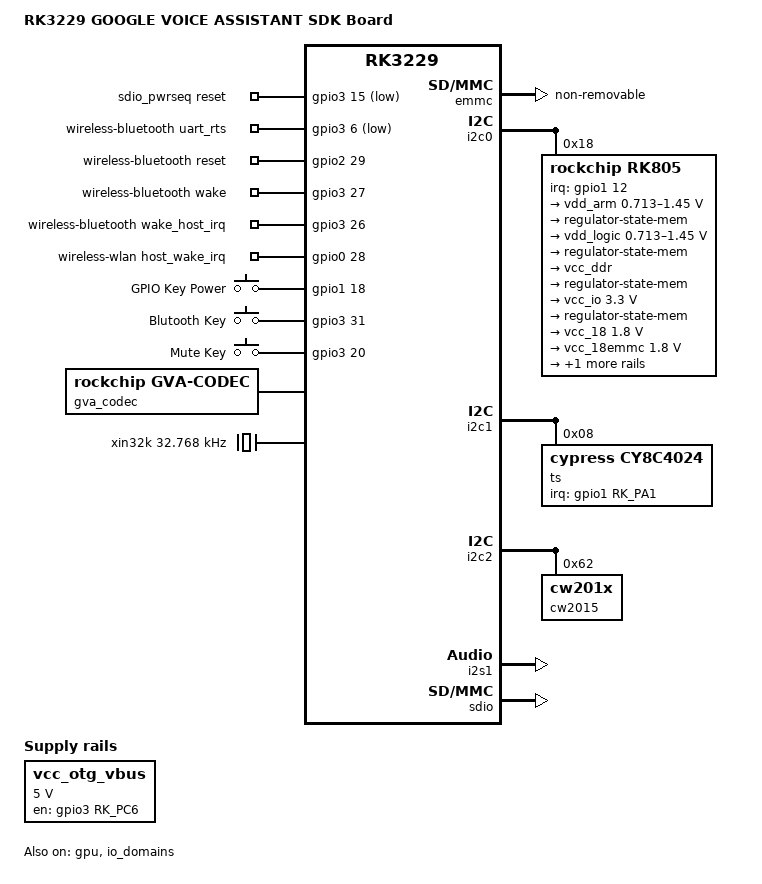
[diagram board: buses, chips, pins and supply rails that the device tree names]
/*
 * Copyright (c) 2017 Fuzhou Rockchip Electronics Co., Ltd
 *
 * This file is dual-licensed: you can use it either under the terms
 * of the GPL or the X11 license, at your option. Note that this dual
 * licensing only applies to this file, and not this project as a
 * whole.
 *
 *  a) This file is free software; you can redistribute it and/or
 *     modify it under the terms of the GNU General Public License as
 *     published by the Free Software Foundation; either version 2 of the
 *     License, or (at your option) any later version.
 *
 *     This file is distributed in the hope that it will be useful,
 *     but WITHOUT ANY WARRANTY; without even the implied warranty of
 *     MERCHANTABILITY or FITNESS FOR A PARTICULAR PURPOSE.  See the
 *     GNU General Public License for more details.
 *
 *  Or, alternatively,
 *
 *  b) Permission is hereby granted, free of charge, to any person
 *     obtaining a copy of this software and associated documentation
 *     files (the "Software"), to deal in the Software without
 *     restriction, including without limitation the rights to use,
 *     copy, modify, merge, publish, distribute, sublicense, and/or
 *     sell copies of the Software, and to permit persons to whom the
 *     Software is furnished to do so, subject to the following
 *     conditions:
 *
 *     The above copyright notice and this permission notice shall be
 *     included in all copies or substantial portions of the Software.
 *
 *     THE SOFTWARE IS PROVIDED "AS IS", WITHOUT WARRANTY OF ANY KIND,
 *     EXPRESS OR IMPLIED, INCLUDING BUT NOT LIMITED TO THE WARRANTIES
 *     OF MERCHANTABILITY, FITNESS FOR A PARTICULAR PURPOSE AND
 *     NONINFRINGEMENT. IN NO EVENT SHALL THE AUTHORS OR COPYRIGHT
 *     HOLDERS BE LIABLE FOR ANY CLAIM, DAMAGES OR OTHER LIABILITY,
 *     WHETHER IN AN ACTION OF CONTRACT, TORT OR OTHERWISE, ARISING
 *     FROM, OUT OF OR IN CONNECTION WITH THE SOFTWARE OR THE USE OR
 *     OTHER DEALINGS IN THE SOFTWARE.
 */

/dts-v1/;

#include "rk322x.dtsi"
#include "rk3229-cpu-opp.dtsi"
#include "rk322x-android.dtsi"

/ {
	model = "RK3229 GOOGLE VOICE ASSISTANT SDK Board";
	compatible = "rockchip,rk3229-gva-sdk", "rockchip,rk3229";

	sdio_pwrseq: sdio-pwrseq {
		compatible = "mmc-pwrseq-simple";
		clocks = <&rk805 1>;
		clock-names = "ext_clock";
		pinctrl-names = "default";
		pinctrl-0 = <&wifi_enable_h>;

		/*
		 * On the module itself this is one of these (depending
		 * on the actual card populated):
		 * - SDIO_RESET_L_WL_REG_ON
		 * - PDN (power down when low)
		 */
		reset-gpios = <&gpio3 15 GPIO_ACTIVE_LOW>; /* GPIO3_B7 */
	};

	wireless-bluetooth {
		compatible = "bluetooth-platdata";
		clocks = <&rk805 1>;
		clock-names = "ext_clock";
		uart_rts_gpios = <&gpio3 6 GPIO_ACTIVE_LOW>;
		pinctrl-names = "default", "rts_gpio";
		pinctrl-0 = <&uart11_rts>;
		pinctrl-1 = <&uart11_rts_gpio>;
		BT,reset_gpio    = <&gpio2 29 GPIO_ACTIVE_HIGH>;
		BT,wake_gpio     = <&gpio3 27 GPIO_ACTIVE_HIGH>;
		BT,wake_host_irq = <&gpio3 26 GPIO_ACTIVE_HIGH>;
		status = "okay";
	};

	wireless-wlan {
		compatible = "wlan-platdata";
		rockchip,grf = <&grf>;
		wifi_chip_type = "ap6255";
		WIFI,host_wake_irq = <&gpio0 28 GPIO_ACTIVE_HIGH>;
		status = "okay";
	};

	gpio_keys {
		compatible = "gpio-keys";
		#address-cells = <1>;
		#size-cells = <0>;
		autorepeat;

		pinctrl-names = "default";
		pinctrl-0 = <&pwr_key &bt_key &mute_key>;

		power_key {
			label = "GPIO Key Power";
			gpios = <&gpio1 18 GPIO_ACTIVE_HIGH>;
			linux,code = <116>;
			debounce-interval = <100>;
			wakeup-source;
		};

		bt_key {
			label = "Blutooth Key";
			gpios = <&gpio3 31 GPIO_ACTIVE_HIGH>;
			linux,code = <237>;
			debounce-interval = <100>;
		};

		mute_key {
			label = "Mute Key";
			gpios = <&gpio3 20 GPIO_ACTIVE_HIGH>;
			linux,code = <113>;
			debounce-interval = <100>;
		};
	};

	gva_codec: gva-codec {
		compatible = "rockchip,gva-codec";
		#sound-dai-cells = <0>;
		status = "okay";
	};

	gva-sound {
		compatible = "simple-audio-card";
		simple-audio-card,format = "i2s";
		simple-audio-card,name = "rockchip,rk3229-dummy";
		simple-audio-card,mclk-fs = <256>;
		simple-audio-card,cpu {
			sound-dai = <&i2s1>;
		};
		simple-audio-card,codec {
			sound-dai = <&gva_codec>;
		};
	};

	vcc_otg_vbus: otg-vbus-regulator {
		compatible = "regulator-fixed";
		gpio = <&gpio3 RK_PC6 GPIO_ACTIVE_HIGH>;
		pinctrl-names = "default";
		pinctrl-0 = <&otg_vbus_drv>;
		regulator-name = "vcc_otg_vbus";
		regulator-min-microvolt = <5000000>;
		regulator-max-microvolt = <5000000>;
		enable-active-high;
	};

	xin32k: xin32k {
		compatible = "fixed-clock";
		clock-frequency = <32768>;
		clock-output-names = "xin32k";
		#clock-cells = <0>;
	};
};

&gpu {
	status = "okay";
	mali-supply = <&vdd_logic>;
};

&nandc {
	status = "disabled";
};

&emmc {
	max-frequency = <125000000>;
	cap-mmc-highspeed;
	mmc-ddr-1_8v;
	non-removable;
	supports-emmc;
	status = "okay";
};

&i2c0 {
	status = "okay";

	rk805: rk805@18 {
		compatible = "rockchip,rk805";
		status = "okay";
		reg = <0x18>;
		interrupt-parent = <&gpio1>;
		interrupts = <12 IRQ_TYPE_LEVEL_LOW>;
		spinctrl-names = "default";
		pinctrl-0 = <&pmic_int_l>;
		rockchip,system-power-controller;
		wakeup-source;
		gpio-controller;
		#gpio-cells = <2>;
		#clock-cells = <1>;
		clock-output-names = "rk805-clkout1", "rk805-clkout2";

		rtc {
			status = "okay";
		};

		pwrkey {
			status = "okay";
		};

		gpio {
			status = "okay";
		};

		regulators {
			compatible = "rk805-regulator";
			status = "okay";
			#address-cells = <1>;
			#size-cells = <0>;

			vdd_arm: RK805_DCDC1@0 {
				regulator-compatible = "RK805_DCDC1";
				regulator-name = "vdd_arm";
				regulator-min-microvolt = <712500>;
				regulator-max-microvolt = <1450000>;
				regulator-initial-mode = <0x1>;
				regulator-ramp-delay = <12500>;
				regulator-boot-on;
				regulator-always-on;
				regulator-state-mem {
					regulator-mode = <0x2>;
					regulator-on-in-suspend;
					regulator-suspend-microvolt = <950000>;
				};
			};

			vdd_logic: RK805_DCDC2@1 {
				regulator-compatible = "RK805_DCDC2";
				regulator-name = "vdd_logic";
				regulator-min-microvolt = <712500>;
				regulator-max-microvolt = <1450000>;
				regulator-initial-mode = <0x1>;
				regulator-ramp-delay = <12500>;
				regulator-boot-on;
				regulator-always-on;
				regulator-state-mem {
					regulator-mode = <0x2>;
					regulator-on-in-suspend;
					regulator-suspend-microvolt = <1000000>;
				};
			};

			vcc_ddr: RK805_DCDC3@2 {
				regulator-compatible = "RK805_DCDC3";
				regulator-name = "vcc_ddr";
				regulator-initial-mode = <0x1>;
				regulator-boot-on;
				regulator-always-on;
				regulator-state-mem {
					regulator-mode = <0x2>;
					regulator-on-in-suspend;
				};
			};

			vcc_io: RK805_DCDC4@3 {
				regulator-compatible = "RK805_DCDC4";
				regulator-name = "vcc_io";
				regulator-min-microvolt = <3300000>;
				regulator-max-microvolt = <3300000>;
				regulator-initial-mode = <0x1>;
				regulator-boot-on;
				regulator-always-on;
				regulator-state-mem {
					regulator-mode = <0x2>;
					regulator-on-in-suspend;
					regulator-suspend-microvolt = <3300000>;
				};
			};

			vcc_18: RK805_LDO1@4 {
				regulator-compatible = "RK805_LDO1";
				regulator-name = "vcc_18";
				regulator-min-microvolt = <1800000>;
				regulator-max-microvolt = <1800000>;
				regulator-boot-on;
				regulator-always-on;
				regulator-state-mem {
					regulator-on-in-suspend;
					regulator-suspend-microvolt = <1800000>;
				};
			};

			vcc_18emmc: RK805_LDO2@5 {
				regulator-compatible = "RK805_LDO2";
				regulator-name = "vcc_18emmc";
				regulator-min-microvolt = <1800000>;
				regulator-max-microvolt = <1800000>;
				regulator-boot-on;
				regulator-always-on;
				regulator-state-mem {
					regulator-on-in-suspend;
					regulator-suspend-microvolt = <1800000>;
				};
			};

			vdd_10: RK805_LDO3@6 {
				regulator-compatible = "RK805_LDO3";
				regulator-name = "vdd_10";
				regulator-min-microvolt = <1000000>;
				regulator-max-microvolt = <1000000>;
				regulator-boot-on;
				regulator-always-on;
				regulator-state-mem {
					regulator-on-in-suspend;
					regulator-suspend-microvolt = <1000000>;
				};
			};
		};
	};
};

&i2c1 {
	status = "okay";
	ts@8 {
		compatible = "cypress,cy8c4024";
		reg = <0x8>;
		interrupt-parent = <&gpio1>;
		interrupts = <RK_PA1 IRQ_TYPE_LEVEL_LOW>;
		status = "okay";
	};
};

&i2c2 {
	status = "okay";

	cw2015@62 {
		status = "okay";
		compatible = "cw201x";
		reg = <0x62>;
		bat_config_info = <0x15 0x42 0x60 0x59 0x52 0x58 0x4D 0x48 0x48 0x44 0x44 0x46 0x49 0x48 0x32
		0x24 0x20 0x17 0x13 0x0F 0x19 0x3E 0x51 0x45 0x08 0x76 0x0B 0x85 0x0E 0x1C 0x2E 0x3E 0x4D 0x52 0x52
		0x57 0x3D 0x1B 0x6A 0x2D 0x25 0x43 0x52 0x87 0x8F 0x91 0x94 0x52 0x82 0x8C 0x92 0x96 0xFF 0x7B 0xBB
		0xCB 0x2F 0x7D 0x72 0xA5 0xB5 0xC1 0x46 0xAE>;
		monitor_sec = <5>;
		virtual_power = <0>;
		divider_res1 = <200>;
		divider_res2 = <200>;
	};
};

&i2s1 {
	status = "okay";
	rockchip,i2s-broken-burst-len;
	rockchip,playback-channels = <8>;
	rockchip,capture-channels = <8>;
	rockchip,bclk-fs = <64>;
	#sound-dai-cells = <0>;
};

&cpu0 {
	cpu-supply = <&vdd_arm>;
};

&io_domains {
	status = "okay";

	vccio1-supply = <&vcc_io>;
	vccio2-supply = <&vcc_18>;
	vccio4-supply = <&vcc_io>;
};

&pinctrl {
	keys {
		pwr_key: pwr-key {
			rockchip,pins = <1 18 RK_FUNC_GPIO &pcfg_pull_down>;
		};

		bt_key: bt-key {
			rockchip,pins = <3 31 RK_FUNC_GPIO &pcfg_pull_down>;
		};

		mute_key: mute-key {
			rockchip,pins = <3 20 RK_FUNC_GPIO &pcfg_pull_down>;
		};
	};

	pmic {
		pmic_int_l: pmic-int-l {
			rockchip,pins = <1 12 RK_FUNC_GPIO &pcfg_pull_up>; /* gpio1_b4 */
		};
	};

	sdio-pwrseq {
		wifi_enable_h: wifi-enable-h {
			rockchip,pins = <3 15 RK_FUNC_GPIO &pcfg_pull_none>;
		};
	};

	usb {
		otg_vbus_drv: otg-vbus-drv {
			rockchip,pins = <3 RK_PC6 RK_FUNC_GPIO &pcfg_pull_none>;
		};
	};
};

&sdio {
	max-frequency = <150000000>;
	mmc-pwrseq = <&sdio_pwrseq>;
	num-slots = <1>;
	sd-uhs-sdr104;
	status = "okay";
};

&rockchip_suspend {
	rockchip,sleep-mode-config = <
		(0
		|RKPM_CTR_GTCLKS
		|RKPM_CTR_IDLESRAM_MD
		|RKPM_CTR_PMIC
		)
	>;
};

&u2phy0_otg {
	vbus-supply = <&vcc_otg_vbus>;
};
